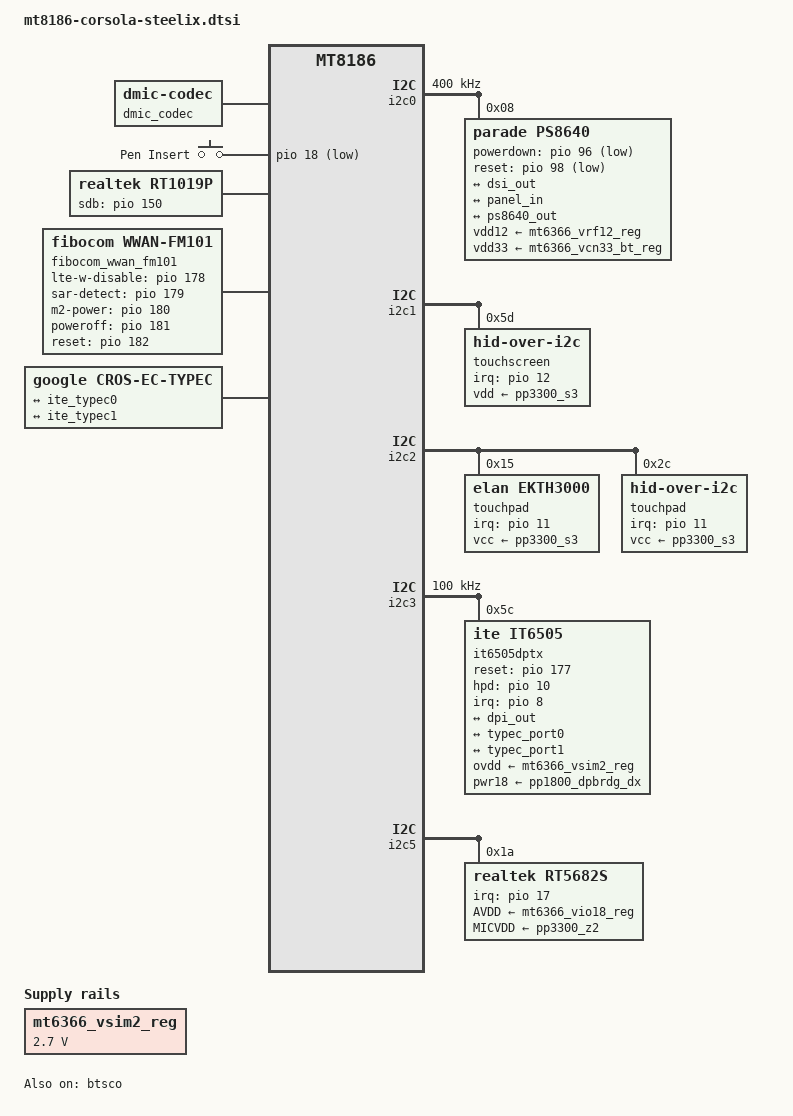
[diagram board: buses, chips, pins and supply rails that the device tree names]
// SPDX-License-Identifier: (GPL-2.0 OR MIT)
/*
 * Copyright 2022 Google LLC
 */

/dts-v1/;
#include "mt8186-corsola.dtsi"
#include <dt-bindings/input/input.h>
#include <dt-bindings/input/gpio-keys.h>

/ {
	dmic_codec: dmic-codec {
		compatible = "dmic-codec";
		num-channels = <2>;
		wakeup-delay-ms = <50>;
		status = "okay";
	};

	gpio_keys: gpio-keys {
		compatible = "gpio-keys";
		pinctrl-names = "default";
		pinctrl-0 = <&pen_eject>;
		status = "okay";

		pen_insert: pen-insert {
			label = "Pen Insert";
			/* Insert = low, eject = high */
			gpios = <&pio 18 GPIO_ACTIVE_LOW>;
			linux,code = <SW_PEN_INSERTED>;
			linux,input-type = <EV_SW>;
			wakeup-event-action = <EV_ACT_DEASSERTED>;
			wakeup-source;
		};
	};

	rt1019p: rt1019p {
		compatible = "realtek,rt1019p";
		pinctrl-names = "default";
		pinctrl-0 = <&rt1019p_pins_default>;
		sdb-gpios = <&pio 150 GPIO_ACTIVE_HIGH>;
		#sound-dai-cells = <0>;
		status = "okay";
	};

	fibocom_wwan_fm101: fibocom-wwan-fm101 {
		compatible = "fibocom,wwan-fm101";
		lte-w-disable-gpios = <&pio 178 GPIO_ACTIVE_HIGH>;
		sar-detect-gpios = <&pio 179 GPIO_ACTIVE_HIGH>;
		m2-power-gpios = <&pio 180 GPIO_ACTIVE_HIGH>;
		poweroff-gpios = <&pio 181 GPIO_ACTIVE_HIGH>;
		reset-gpios = <&pio 182 GPIO_ACTIVE_HIGH>;
		status = "okay";
	};
};

&btsco {
	status = "okay";
};

&cros_ec {
	typec {
		compatible = "google,cros-ec-typec";
		#address-cells = <1>;
		#size-cells = <0>;

		usb_c0: connector@0 {
			compatible = "usb-c-connector";
			reg = <0>;
			label = "left";
			power-role = "dual";
			data-role = "host";
			try-power-role = "source";

			ports {
				#address-cells = <1>;
				#size-cells = <0>;

				port@1 {
					reg = <1>;

					typec_port0: endpoint {
						remote-endpoint = <&ite_typec0>;
					};
				};
			};
		};

		usb_c1: connector@1 {
			compatible = "usb-c-connector";
			reg = <1>;
			label = "right";
			power-role = "dual";
			data-role = "host";
			try-power-role = "source";

			ports {
				#address-cells = <1>;
				#size-cells = <0>;

				port@1 {
					reg = <1>;

					typec_port1: endpoint {
						remote-endpoint = <&ite_typec1>;
					};
				};
			};
		};
	};
};

&dpi0 {
	pinctrl-names = "sleep", "default";
	pinctrl-0 = <&dpi_pin_default>;
	pinctrl-1 = <&dpi_pin_func>;
};

&dpi_out {
	remote-endpoint = <&it6505_in>;
};

&dsi_out {
	remote-endpoint = <&ps8640_in>;
};

&i2c0 {
	clock-frequency = <400000>;

	ps8640: edp-bridge@8 {
		compatible = "parade,ps8640";
		reg = <0x8>;
		powerdown-gpios = <&pio 96 GPIO_ACTIVE_LOW>;
		reset-gpios = <&pio 98 GPIO_ACTIVE_LOW>;
		pinctrl-names = "default";
		pinctrl-0 = <&ps8640_pins>;
		vdd12-supply = <&mt6366_vrf12_reg>;
		vdd33-supply = <&mt6366_vcn33_bt_reg>;

		ports {
			#address-cells = <1>;
			#size-cells = <0>;

			port@0 {
				reg = <0>;

				ps8640_in: endpoint {
					remote-endpoint = <&dsi_out>;
				};
			};

			port@1 {
				reg = <1>;

				ps8640_out: endpoint {
					remote-endpoint = <&panel_in>;
				};
			};
		};

		aux-bus {
			panel {
				compatible = "auo,b116xw03";
				power-supply = <&pp3300_disp_x>;
				backlight = <&backlight_lcd0>;

				port {
					panel_in: endpoint {
						remote-endpoint = <&ps8640_out>;
					};
				};
			};
		};
	};
};

&i2c1 {
	touchscreen: touchscreen@5d {
		compatible = "hid-over-i2c";
		reg = <0x5d>;
		interrupt-parent = <&pio>;
		interrupts = <12 IRQ_TYPE_EDGE_RISING>;
		pinctrl-names = "default";
		pinctrl-0 = <&touchscreen_pins>;
		post-power-on-delay-ms = <10>;
		hid-descr-addr = <0x0001>;
		vdd-supply = <&pp3300_s3>;
		status = "okay";
	};
};

&i2c2 {
	pinctrl-0 = <&i2c2_pins &trackpad_pins>;

	touchpad@15 {
		compatible = "elan,ekth3000";
		reg = <0x15>;
		interrupt-parent = <&pio>;
		interrupts = <11 IRQ_TYPE_LEVEL_LOW>;
		pinctrl-names = "default";
		vcc-supply = <&pp3300_s3>;
		wakeup-source;
	};

	touchpad@2c {
		compatible = "hid-over-i2c";
		reg = <0x2c>;
		hid-descr-addr = <0x20>;
		interrupts-extended = <&pio 11 IRQ_TYPE_LEVEL_LOW>;
		pinctrl-names = "default";
		vcc-supply = <&pp3300_s3>;
		wakeup-source;
	};
};

&i2c3 {
	clock-frequency = <100000>;

	it6505dptx: it6505dptx@5c {
		#address-cells = <1>;
		#size-cells = <0>;
		#sound-dai-cells = <0>;
		compatible = "ite,it6505";
		status = "okay";
		interrupt-parent = <&pio>;
		interrupts = <8 IRQ_TYPE_LEVEL_LOW 8 0>;
		reg = <0x5c>;
		pinctrl-names = "default";
		pinctrl-0 = <&it6505_pins>;
		ovdd-supply = <&mt6366_vsim2_reg>;
		pwr18-supply = <&pp1800_dpbrdg_dx>;
		reset-gpios = <&pio 177 0>;
		hpd-gpios = <&pio 10 0>;
		no-laneswap;
		max-lane-count = <2>;
		max-dpi-pixel-clock = <150000>;

		port {
			it6505_in: endpoint {
				remote-endpoint = <&dpi_out>;
			};
		};

		ite_mux0 {
			compatible = "typec-mode-switch";
			reg = <0>;
			accessory;

			port {
				ite_typec0: endpoint {
					remote-endpoint = <&typec_port0>;
				};
			};
		};

		ite_mux1 {
			compatible = "typec-mode-switch";
			reg = <1>;
			accessory;

			port {
				ite_typec1: endpoint {
					remote-endpoint = <&typec_port1>;
				};
			};
		};
	};
};

&i2c5 {
	rt5682s: rt5682s@1a {
		compatible = "realtek,rt5682s";
		reg = <0x1a>;
		interrupt-parent = <&pio>;
		interrupts = <17 IRQ_TYPE_EDGE_BOTH>;
		realtek,jd-src = <1>;
		AVDD-supply = <&mt6366_vio18_reg>;
		MICVDD-supply = <&pp3300_z2>;
		#sound-dai-cells = <0>;
	};
};

&keyboard_controller {
	function-row-physmap = <
		MATRIX_KEY(0x00, 0x02, 0)	/* T1 */
		MATRIX_KEY(0x03, 0x02, 0)	/* T2 */
		MATRIX_KEY(0x02, 0x02, 0)	/* T3 */
		MATRIX_KEY(0x01, 0x02, 0)	/* T4 */
		MATRIX_KEY(0x03, 0x04, 0)	/* T5 */
		MATRIX_KEY(0x02, 0x04, 0)	/* T6 */
		MATRIX_KEY(0x01, 0x04, 0)	/* T7 */
		MATRIX_KEY(0x02, 0x09, 0)	/* T8 */
		MATRIX_KEY(0x01, 0x09, 0)	/* T9 */
		MATRIX_KEY(0x00, 0x04, 0)	/* T10 */
	>;

	linux,keymap = <
		MATRIX_KEY(0x00, 0x02, KEY_BACK)
		MATRIX_KEY(0x03, 0x02, KEY_REFRESH)
		MATRIX_KEY(0x02, 0x02, KEY_ZOOM)
		MATRIX_KEY(0x01, 0x02, KEY_SCALE)
		MATRIX_KEY(0x03, 0x04, KEY_BRIGHTNESSDOWN)
		MATRIX_KEY(0x02, 0x04, KEY_BRIGHTNESSUP)
		MATRIX_KEY(0x01, 0x04, KEY_MICMUTE)
		MATRIX_KEY(0x02, 0x09, KEY_MUTE)
		MATRIX_KEY(0x01, 0x09, KEY_VOLUMEDOWN)
		MATRIX_KEY(0x00, 0x04, KEY_VOLUMEUP)
		CROS_STD_MAIN_KEYMAP
	>;
};

&mmc1_pins_default {
	pins_clk {
		drive-strength = <MTK_DRIVE_8mA>;
	};

	pins_cmd_dat {
		drive-strength = <MTK_DRIVE_8mA>;
	};
};

&mmc1_pins_uhs {
	pins_clk {
		drive-strength = <MTK_DRIVE_8mA>;
	};

	pins_cmd_dat {
		drive-strength = <MTK_DRIVE_8mA>;
	};
};

&mt6366_vcn33_bt_reg {
        /* ps8640 3.3V power supply */
        regulator-max-microvolt = <3300000>;
};

&mt6366_vsim2_reg {
	regulator-min-microvolt = <2700000>;
	regulator-max-microvolt = <2700000>;
};

&pio {
	dpi_pin_default: dpi_pin_default {
		pins_cmd_dat {
			pinmux = <PINMUX_GPIO103__FUNC_GPIO103>,
				 <PINMUX_GPIO104__FUNC_GPIO104>,
				 <PINMUX_GPIO105__FUNC_GPIO105>,
				 <PINMUX_GPIO106__FUNC_GPIO106>,
				 <PINMUX_GPIO107__FUNC_GPIO107>,
				 <PINMUX_GPIO108__FUNC_GPIO108>,
				 <PINMUX_GPIO109__FUNC_GPIO109>,
				 <PINMUX_GPIO110__FUNC_GPIO110>,
				 <PINMUX_GPIO111__FUNC_GPIO111>,
				 <PINMUX_GPIO112__FUNC_GPIO112>,
				 <PINMUX_GPIO113__FUNC_GPIO113>,
				 <PINMUX_GPIO114__FUNC_GPIO114>,
				 <PINMUX_GPIO101__FUNC_GPIO101>,
				 <PINMUX_GPIO100__FUNC_GPIO100>,
				 <PINMUX_GPIO102__FUNC_GPIO102>,
				 <PINMUX_GPIO99__FUNC_GPIO99>;
			drive-strength = <MTK_DRIVE_10mA>;
			output-low;
		};
	};

	dpi_pin_func: dpi_pin_func {
		pins_cmd_dat {
			pinmux = <PINMUX_GPIO103__FUNC_DPI_DATA0>,
				 <PINMUX_GPIO104__FUNC_DPI_DATA1>,
				 <PINMUX_GPIO105__FUNC_DPI_DATA2>,
				 <PINMUX_GPIO106__FUNC_DPI_DATA3>,
				 <PINMUX_GPIO107__FUNC_DPI_DATA4>,
				 <PINMUX_GPIO108__FUNC_DPI_DATA5>,
				 <PINMUX_GPIO109__FUNC_DPI_DATA6>,
				 <PINMUX_GPIO110__FUNC_DPI_DATA7>,
				 <PINMUX_GPIO111__FUNC_DPI_DATA8>,
				 <PINMUX_GPIO112__FUNC_DPI_DATA9>,
				 <PINMUX_GPIO113__FUNC_DPI_DATA10>,
				 <PINMUX_GPIO114__FUNC_DPI_DATA11>,
				 <PINMUX_GPIO101__FUNC_DPI_HSYNC>,
				 <PINMUX_GPIO100__FUNC_DPI_VSYNC>,
				 <PINMUX_GPIO102__FUNC_DPI_DE>,
				 <PINMUX_GPIO99__FUNC_DPI_PCLK>;
			drive-strength = <MTK_DRIVE_10mA>;
		};
	};

	it6505_pins: it6505_pins {
		pins_hpd {
			pinmux = <PINMUX_GPIO10__FUNC_GPIO10>;
			input-enable;
			bias-pull-up;
		};

		pins_int {
			pinmux = <PINMUX_GPIO8__FUNC_GPIO8>;
			input-enable;
			bias-pull-up;
		};

		pins_reset {
			pinmux = <PINMUX_GPIO177__FUNC_GPIO177>;
			output-low;
			bias-pull-up;
		};
	};

	pen_eject: peneject {
		pen_eject {
			pinmux = <PINMUX_GPIO18__FUNC_GPIO18>;
			input-enable;
			/* External pull-up. */
			bias-disable;
		};
	};
};

&sound {
	compatible = "mediatek,mt8186-mt6366-rt1019-rt5682s-sound";
	status = "okay";

	playback-codecs {
		sound-dai = <&it6505dptx>,<&rt1019p>;
	};

	headset-codec {
		sound-dai = <&rt5682s>;
	};
};
